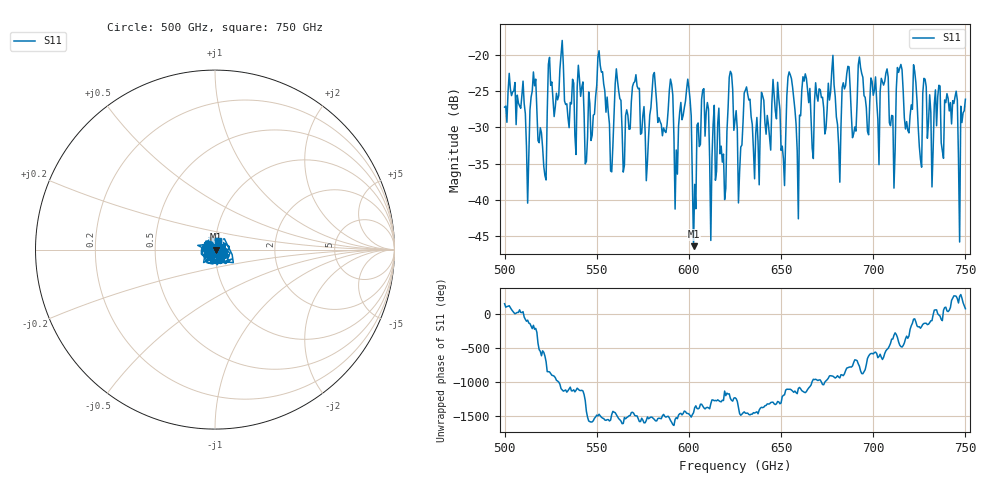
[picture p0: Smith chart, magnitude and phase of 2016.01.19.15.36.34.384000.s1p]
!Created with skrf (http://scikit-rf.org).
# GHz S RI R 50.0
!freq ReS11 ImS11
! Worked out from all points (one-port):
!   401 points, 500 GHz to 750 GHz, reference 50 ohm
!   lowest |S11| = -46.4 dB at 602.5 GHz (marker M1), VSWR 1.01, Z = 50.5 - j0.0683 ohm
!   |S11| at or under -10 dB: start of sweep to end of sweep
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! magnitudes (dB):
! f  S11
! 500 GHz  -27.2
! 512.5 GHz  -40.4
! 515.6 GHz  -22.4
! 521.2 GHz  -35.4
! 531.2 GHz  -18.0
! 544.4 GHz  -34.7
! 551.9 GHz  -21.5
! 557.5 GHz  -36.0
! 562.5 GHz  -26.1
! 590 GHz  -23.4
! 593.8 GHz  -36.5
! 599.4 GHz  -23.4
! 602.5 GHz  -46.4
! 608.1 GHz  -24.7
! 618.8 GHz  -33.7
! 622.5 GHz  -22.3
! 625 GHz  -29.1
! 646.9 GHz  -27.8
! 651.2 GHz  -34.3
! 656.2 GHz  -24.5
! 659.4 GHz  -42.6
! 662.5 GHz  -23.7
! 687.5 GHz  -24.7
! 706.9 GHz  -22.5
! 710.6 GHz  -28.4
! 714.4 GHz  -21.8
! 718.8 GHz  -30.4
! 750 GHz  -26.1
